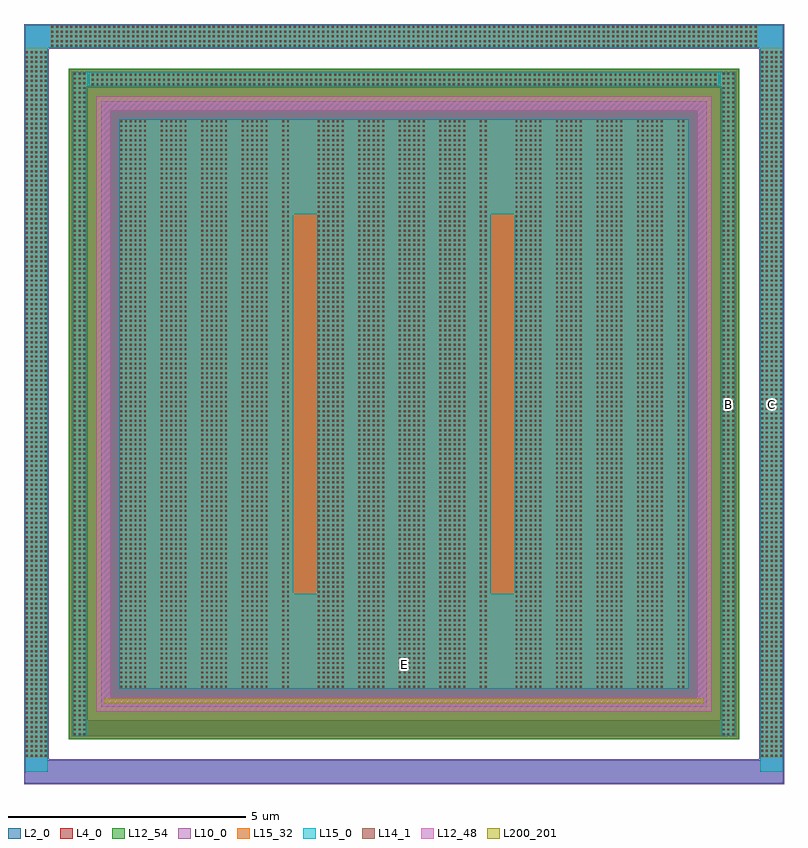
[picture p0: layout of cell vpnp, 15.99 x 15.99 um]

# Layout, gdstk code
import gdstk
lib = gdstk.Library(unit=1e-6, precision=1e-09)
def R(c, l, rs):  # rectangles x0, y0, x1, y1
    for r in rs: c.add(gdstk.rectangle(r[:2], r[2:], *l))
def A(c, l, x, y, w, h, nx, ny, dx, dy):  # array of equal rectangles
    R(c, l, [(x+i*dx, y+j*dy, x+i*dx+w, y+j*dy+h) for i in range(nx) for j in range(ny)])
L2_0 = (2, 0)
L4_0 = (4, 0)
L10_0 = (10, 0)
L12_48 = (12, 48)
L12_54 = (12, 54)
L14_1 = (14, 1)
L15_0 = (15, 0)
L15_32 = (15, 32)
L200_201 = (200, 201)

vpnp = lib.new_cell('vpnp')
R(vpnp, L2_0, [(-14.479,-6.509,1.473,-6.029), (-14.479,-6.029,-13.999,8.963), (0.993,-6.029,1.473,8.963), (-13.499,-5.529,0.493,-5.189), (-13.499,-5.189,-13.159,8.123), (0.153,-5.189,0.493,8.123), (-12.803,-4.833,-0.203,7.767), (-13.499,8.123,0.493,8.463), (-14.479,8.963,1.473,9.443)])
R(vpnp, L4_0, [(-13.555,-5.585,0.549,8.519)])
R(vpnp, L10_0, [(-14.5,-6.53,1.494,-6.008), (-14.5,-6.008,-13.978,8.942), (0.972,-6.008,1.494,8.942), (-12.873,-4.903,-0.133,7.837), (-14.5,8.942,1.494,9.464)])
R(vpnp, L12_48, [(-12.984,-5.014,-0.022,-4.708), (-12.984,-4.708,-12.678,7.642), (-0.328,-4.708,-0.022,7.642), (-12.984,7.642,-0.022,7.948)])
R(vpnp, L12_54, [(-13.555,-5.585,0.549,8.519)])
A(vpnp, L14_1, -14.459, -5.953, 0.04, 0.04, 5, 149, 0.1, 0.1)
A(vpnp, L14_1, 1.013, -5.953, 0.04, 0.04, 5, 149, 0.1, 0.1)
A(vpnp, L14_1, -13.449, -5.503, 0.04, 0.04, 3, 140, 0.1, 0.1)
A(vpnp, L14_1, 0.203, -5.503, 0.04, 0.04, 3, 140, 0.1, 0.1)
A(vpnp, L14_1, -12.473, -4.503, 0.04, 0.04, 6, 120, 0.1, 0.1)
A(vpnp, L14_1, -11.621, -4.503, 0.04, 0.04, 6, 120, 0.1, 0.1)
A(vpnp, L14_1, -10.769, -4.503, 0.04, 0.04, 6, 120, 0.1, 0.1)
A(vpnp, L14_1, -9.917, -4.503, 0.04, 0.04, 6, 120, 0.1, 0.1)
A(vpnp, L14_1, -9.065, -4.503, 0.04, 0.04, 1, 120, 0, 0.1)
A(vpnp, L14_1, -8.965, -4.503, 0.04, 0.04, 1, 120, 0, 0.1)
A(vpnp, L14_1, -8.314, -4.503, 0.04, 0.04, 6, 120, 0.1, 0.1)
A(vpnp, L14_1, -7.462, -4.503, 0.04, 0.04, 6, 120, 0.1, 0.1)
A(vpnp, L14_1, -6.61, -4.503, 0.04, 0.04, 6, 120, 0.1, 0.1)
A(vpnp, L14_1, -5.758, -4.503, 0.04, 0.04, 6, 120, 0.1, 0.1)
A(vpnp, L14_1, -4.906, -4.503, 0.04, 0.04, 1, 120, 0, 0.1)
A(vpnp, L14_1, -4.806, -4.503, 0.04, 0.04, 1, 120, 0, 0.1)
A(vpnp, L14_1, -4.155, -4.503, 0.04, 0.04, 6, 120, 0.1, 0.1)
A(vpnp, L14_1, -3.303, -4.503, 0.04, 0.04, 6, 120, 0.1, 0.1)
A(vpnp, L14_1, -2.451, -4.503, 0.04, 0.04, 6, 120, 0.1, 0.1)
A(vpnp, L14_1, -1.599, -4.503, 0.04, 0.04, 6, 120, 0.1, 0.1)
A(vpnp, L14_1, -0.747, -4.503, 0.04, 0.04, 1, 120, 0, 0.1)
A(vpnp, L14_1, -0.647, -4.503, 0.04, 0.04, 1, 120, 0, 0.1)
A(vpnp, L14_1, -13.073, 8.173, 0.04, 0.04, 132, 3, 0.1, 0.1)
A(vpnp, L14_1, -13.923, 8.983, 0.04, 0.04, 149, 5, 0.1, 0.1)
A(vpnp, L15_0, -12.491, -2.521, 3.658, 7.976, 3, 1, 4.159, 0)
R(vpnp, L15_0, [(-14.477,-6.269,-14.001,9.441), (0.995,-6.269,1.471,9.441), (-13.467,-5.521,-13.191,8.455), (0.185,-5.521,0.461,8.455), (-12.491,-4.521,-0.515,-2.521), (-12.491,5.455,-0.515,7.455), (-13.191,8.155,0.185,8.455), (-14.001,8.965,0.995,9.441)])
R(vpnp, L15_32, [(-14.477,-5.971,-14.001,8.965), (0.995,-5.971,1.471,8.965), (-13.467,-5.521,-13.191,8.455), (0.185,-5.521,0.461,8.455), (-12.491,-4.521,-0.515,7.455), (-13.091,8.155,0.085,8.431), (-13.941,8.965,0.935,9.441)])
R(vpnp, L200_201, [(-12.803,-4.833,-0.203,-4.733)])
vpnp.add(gdstk.Label('E', (-6.503,-4.021), layer=15, texttype=20))
vpnp.add(gdstk.Label('B', (0.323,1.467), layer=15, texttype=20))
vpnp.add(gdstk.Label('C', (1.233,1.467), layer=15, texttype=20))

lib.write_gds('vpnp.gds')
